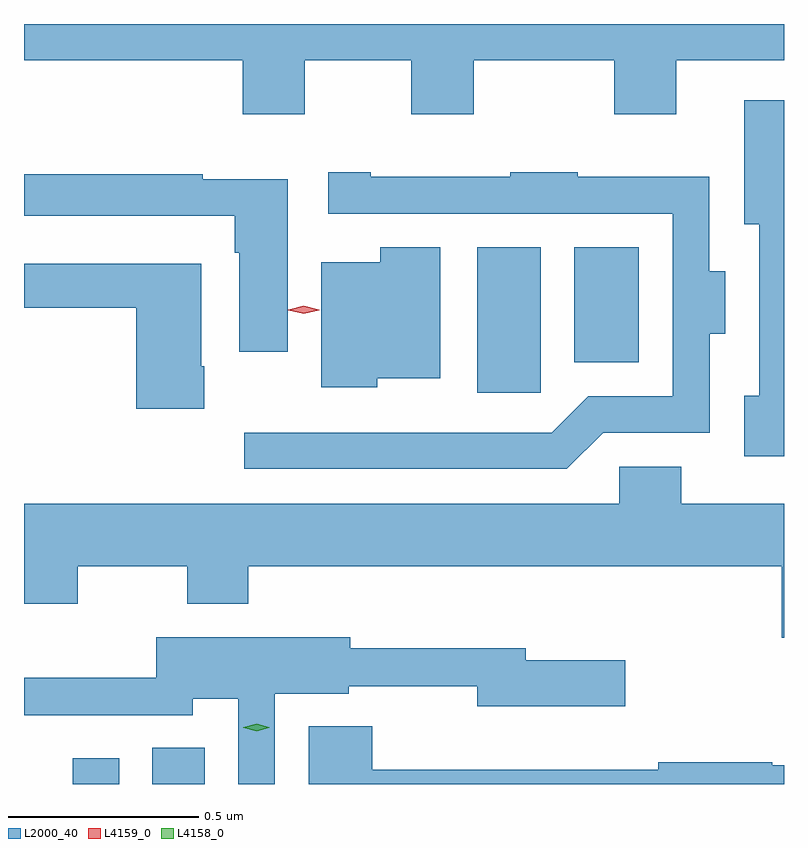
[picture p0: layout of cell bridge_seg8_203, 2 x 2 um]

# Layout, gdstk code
import gdstk
lib = gdstk.Library(unit=1e-6, precision=1e-09)
def R(c, l, rs):  # rectangles x0, y0, x1, y1
    for r in rs: c.add(gdstk.rectangle(r[:2], r[2:], *l))
def P(c, l, *ps):  # polygons
    for p in ps: c.add(gdstk.Polygon(p, *l))
L2000_40 = (2000, 40)
L4158_0 = (4158, 0)
L4159_0 = (4159, 0)

bridge_seg8_203 = lib.new_cell('bridge_seg8_203')
R(bridge_seg8_203, L2000_40, [(211.094,1101.275,211.216,1101.343), (211.304,1101.275,211.441,1101.371), (212.159,1102.305,212.326,1102.687), (212.414,1102.385,212.584,1102.687)])
P(bridge_seg8_203, L2000_40, [(211.705,1103.18),(211.985,1103.18),(211.985,1103.037),(212.149,1103.037),(212.149,1103.18),(212.519,1103.18),(212.519,1103.037),(212.683,1103.037),(212.683,1103.18),(212.966,1103.18),(212.966,1103.275),(210.966,1103.275),(210.966,1103.18),(211.541,1103.18),(211.541,1103.037),(211.705,1103.037)],
  [(212.966,1103.074),(212.861,1103.074),(212.861,1102.748),(212.901,1102.748),(212.901,1102.297),(212.861,1102.297),(212.861,1102.137),(212.966,1102.137)],
  [(212.49,1102.2),(212.77,1102.2),(212.77,1102.46),(212.812,1102.46),(212.812,1102.624),(212.769,1102.624),(212.769,1102.873),(212.423,1102.873),(212.423,1102.885),(212.245,1102.885),(212.245,1102.873),(211.879,1102.873),(211.879,1102.885),(211.767,1102.885),(211.767,1102.776),(212.673,1102.776),(212.673,1102.296),(212.451,1102.296),(212.355,1102.2),(211.545,1102.2),(211.545,1102.104),(212.394,1102.104)],
  [(211.66,1102.867),(211.436,1102.867),(211.436,1102.879),(210.966,1102.879),(210.966,1102.77),(211.52,1102.77),(211.52,1102.673),(211.532,1102.673),(211.532,1102.413),(211.66,1102.413)],
  [(211.896,1102.343),(212.062,1102.343),(212.062,1102.687),(211.904,1102.687),(211.904,1102.648),(211.748,1102.648),(211.748,1102.319),(211.896,1102.319)],
  [(211.44,1102.375),(211.432,1102.375),(211.432,1102.644),(210.966,1102.644),(210.966,1102.528),(211.262,1102.528),(211.262,1102.263),(211.44,1102.263)],
  [(212.966,1102.012),(212.696,1102.012),(212.696,1102.11),(212.532,1102.11),(212.532,1102.012),(210.966,1102.012),(210.966,1101.749),(211.107,1101.749),(211.107,1101.848),(211.396,1101.848),(211.396,1101.749),(211.556,1101.749),(211.556,1101.848),(212.96,1101.848),(212.96,1101.66),(212.966,1101.66)],
  [(211.626,1101.512),(211.821,1101.512),(211.821,1101.532),(212.159,1101.532),(212.159,1101.479),(212.548,1101.479),(212.548,1101.601),(212.287,1101.601),(212.287,1101.632),(211.825,1101.632),(211.825,1101.661),(211.314,1101.661),(211.314,1101.554),(210.966,1101.554),(210.966,1101.456),(211.41,1101.456),(211.41,1101.5),(211.53,1101.5),(211.53,1101.275),(211.626,1101.275)],
  [(212.966,1101.325),(212.935,1101.325),(212.935,1101.332),(212.635,1101.332),(212.635,1101.313),(211.882,1101.313),(211.882,1101.427),(211.715,1101.427),(211.715,1101.275),(212.966,1101.275)])
P(bridge_seg8_203, L4158_0, [(211.578,1101.414),(211.543,1101.423),(211.543,1101.424),(211.543,1101.424),(211.578,1101.434),(211.612,1101.424),(211.612,1101.424),(211.612,1101.423)])
P(bridge_seg8_203, L4159_0, [(211.702,1102.513),(211.661,1102.522),(211.66,1102.523),(211.661,1102.523),(211.702,1102.533),(211.743,1102.523),(211.743,1102.523),(211.743,1102.522)])

lib.write_gds('bridge_seg8_203.gds')
